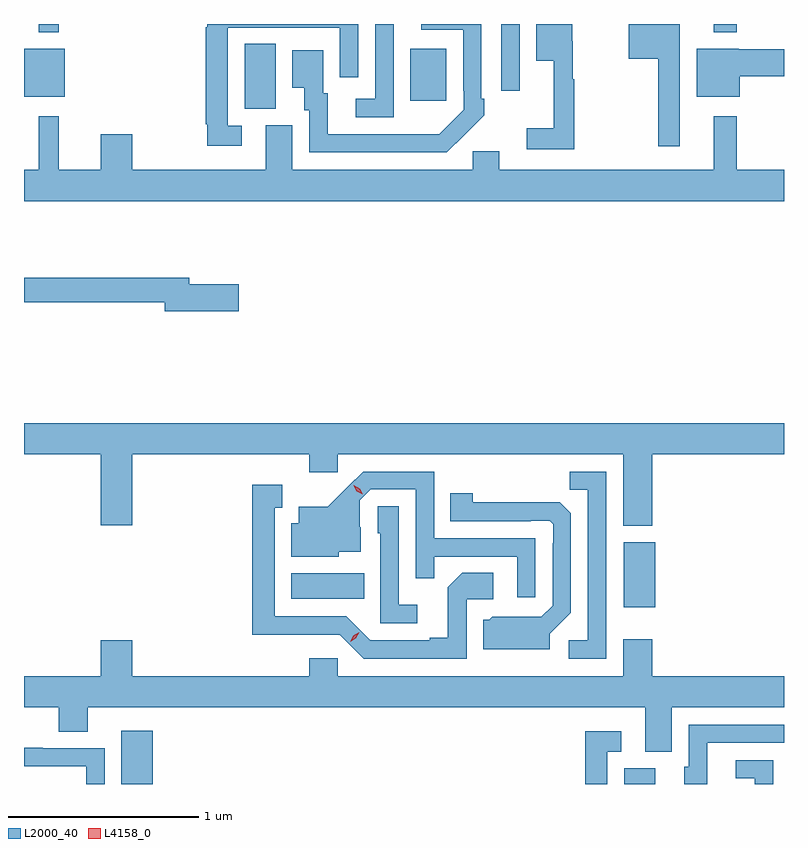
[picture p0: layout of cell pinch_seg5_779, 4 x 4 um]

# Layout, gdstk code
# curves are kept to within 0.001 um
import gdstk
lib = gdstk.Library(unit=1e-6, precision=1e-09)
def R(c, l, rs):  # rectangles x0, y0, x1, y1
    for r in rs: c.add(gdstk.rectangle(r[:2], r[2:], *l))
def P(c, l, *ps):  # polygons
    for p in ps: c.add(gdstk.Polygon(p, *l))
L2000_40 = (2000, 40)
L4158_0 = (4158, 0)

pinch_seg5_779 = lib.new_cell('pinch_seg5_779')
R(pinch_seg5_779, L2000_40, [(776.504,909.636,776.668,909.916), (779.15,909.636,779.314,909.72), (779.147,910.566,779.314,910.909), (777.398,910.61,777.782,910.744), (777.152,913.189,777.316,913.532), (778.025,913.233,778.213,913.507), (775.991,913.253,776.206,913.507), (778.503,913.284,778.599,913.636), (776.069,913.592,776.173,913.636), (779.621,913.592,779.743,913.636)])
P(pinch_seg5_779, L2000_40, [(778.307,913.051),(778.308,913.05),(778.413,913.155),(778.413,913.243),(778.398,913.243),(778.398,913.636),(778.083,913.636),(778.083,913.605),(778.302,913.605),(778.302,913.285),(778.305,913.285),(778.305,913.185),(778.177,913.057),(777.589,913.056),(777.589,913.272),(777.565,913.272),(777.565,913.498),(777.404,913.498),(777.404,913.301),(777.467,913.301),(777.467,913.182),(777.492,913.182),(777.492,912.96),(778.216,912.96)],
  [(779.443,913.636),(779.174,913.636),(779.174,913.454),(779.329,913.454),(779.329,912.993),(779.443,912.993)],
  [(777.936,913.603),(777.937,913.603),(777.937,913.636),(777.84,913.636),(777.84,913.242),(777.738,913.242),(777.738,913.146),(777.936,913.146)],
  [(778.888,913.346),(778.88,913.346),(778.88,913.546),(778.876,913.546),(778.876,913.636),(778.688,913.636),(778.688,913.442),(778.778,913.442),(778.778,913.087),(778.638,913.087),(778.638,912.978),(778.888,912.978)],
  [(777.136,913.101),(777.063,913.101),(777.063,913.617),(777.654,913.617),(777.654,913.356),(777.75,913.356),(777.75,913.61),(777.749,913.61),(777.749,913.636),(776.955,913.636),(776.955,913.62),(776.947,913.62),(776.947,913.108),(776.955,913.108),(776.955,912.996),(777.136,912.996)],
  [(779.758,913.36),(779.991,913.36),(779.991,913.502),(779.754,913.502),(779.754,913.507),(779.531,913.507),(779.531,913.253),(779.758,913.253)],
  [(779.991,912.868),(779.743,912.868),(779.743,913.15),(779.621,913.15),(779.621,912.868),(778.492,912.868),(778.492,912.966),(778.353,912.966),(778.353,912.868),(777.403,912.868),(777.403,913.104),(777.263,913.104),(777.263,912.868),(776.56,912.868),(776.56,913.057),(776.396,913.057),(776.396,912.868),(776.173,912.868),(776.173,913.15),(776.069,913.15),(776.069,912.868),(775.991,912.868),(775.991,912.704),(779.991,912.704)],
  [(777.121,912.267),(776.86,912.267),(776.86,912.301),(775.991,912.301),(775.991,912.172),(776.732,912.172),(776.732,912.125),(777.121,912.125)],
  [(779.297,911.372),(779.991,911.372),(779.991,911.536),(775.991,911.536),(775.991,911.372),(776.396,911.372),(776.396,910.998),(776.56,910.998),(776.56,911.372),(777.491,911.372),(777.491,911.277),(777.642,911.277),(777.642,911.372),(779.144,911.372),(779.144,910.994),(779.297,910.994)],
  [(779.055,911.28),(778.864,911.28),(778.864,911.185),(778.959,911.185),(778.959,910.392),(778.857,910.392),(778.857,910.296),(779.055,910.296)],
  [(778.683,910.929),(778.149,910.929),(778.149,911.28),(777.776,911.28),(777.589,911.095),(777.437,911.095),(777.437,911.008),(777.398,911.008),(777.398,910.832),(777.648,910.832),(777.648,910.859),(777.763,910.859),(777.763,910.988),(777.759,910.988),(777.759,911.13),(777.816,911.187),(778.053,911.187),(778.053,910.72),(778.151,910.72),(778.151,910.833),(778.587,910.833),(778.587,910.62),(778.683,910.62)],
  [(778.32,910.608),(778.462,910.608),(778.462,910.748),(778.297,910.748),(778.221,910.672),(778.221,910.405),(778.127,910.405),(778.127,910.392),(777.813,910.392),(777.687,910.518),(777.31,910.518),(777.31,911.091),(777.349,911.091),(777.349,911.212),(777.192,911.212),(777.192,910.421),(777.654,910.422),(777.78,910.296),(778.32,910.296)],
  [(778.759,910.428),(778.869,910.538),(778.869,911.06),(778.81,911.119),(778.353,911.12),(778.353,911.167),(778.234,911.167),(778.234,911.019),(778.658,911.019),(778.658,911.022),(778.758,911.022),(778.776,911.004),(778.776,910.904),(778.773,910.904),(778.773,910.575),(778.713,910.515),(778.456,910.516),(778.44,910.5),(778.409,910.5),(778.409,910.346),(778.759,910.346)],
  [(778.06,910.579),(777.963,910.579),(777.963,911.099),(777.852,911.099),(777.852,910.956),(777.867,910.956),(777.867,910.482),(778.06,910.482)],
  [(779.401,910.04),(779.991,910.04),(779.991,910.204),(779.297,910.204),(779.297,910.399),(779.144,910.399),(779.144,910.204),(777.642,910.204),(777.642,910.297),(777.491,910.297),(777.491,910.204),(776.56,910.204),(776.56,910.393),(776.396,910.393),(776.396,910.204),(775.991,910.204),(775.991,910.04),(776.174,910.04),(776.174,909.91),(776.326,909.91),(776.326,910.04),(779.261,910.04),(779.261,909.805),(779.401,909.805)],
  [(779.587,909.852),(779.991,909.852),(779.991,909.948),(779.49,909.948),(779.49,909.726),(779.465,909.726),(779.465,909.636),(779.587,909.636)],
  [(779.061,909.807),(779.134,909.807),(779.134,909.913),(778.945,909.913),(778.945,909.636),(779.061,909.636)],
  [(776.415,909.825),(776.09,909.825),(776.09,909.827),(775.991,909.827),(775.991,909.729),(776.319,909.729),(776.319,909.636),(776.415,909.636)],
  [(779.934,909.762),(779.736,909.762),(779.736,909.666),(779.838,909.666),(779.838,909.636),(779.934,909.636)])
P(pinch_seg5_779, L4158_0, [(777.773,911.161),(777.743,911.177),(777.727,911.207),(777.727,911.208),(777.727,911.208),(777.757,911.191),(777.774,911.161),(777.774,911.161)],
  [(777.707,910.384),(777.707,910.384),(777.724,910.417),(777.755,910.436),(777.756,910.436),(777.756,910.436),(777.738,910.403),(777.707,910.384)])

lib.write_gds('pinch_seg5_779.gds')
